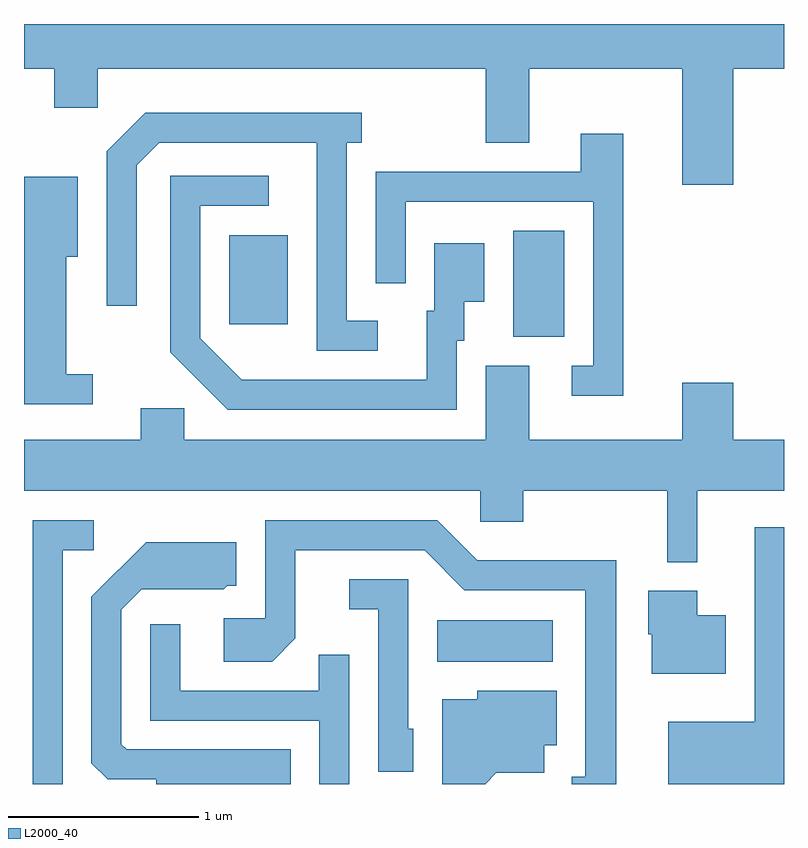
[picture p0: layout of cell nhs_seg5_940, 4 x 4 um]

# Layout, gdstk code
import gdstk
lib = gdstk.Library(unit=1e-6, precision=1e-09)
def R(c, l, rs):  # rectangles x0, y0, x1, y1
    for r in rs: c.add(gdstk.rectangle(r[:2], r[2:], *l))
def P(c, l, *ps):  # polygons
    for p in ps: c.add(gdstk.Polygon(p, *l))
L2000_40 = (2000, 40)

nhs_seg5_940 = lib.new_cell('nhs_seg5_940')
R(nhs_seg5_940, L2000_40, [(213.786,1524.716,214.394,1524.934), (214.186,1526.426,214.454,1526.984), (212.691,1526.491,212.999,1526.959)])
P(nhs_seg5_940, L2000_40, [(215.344,1527.836),(215.611,1527.836),(215.611,1528.072),(211.611,1528.072),(211.611,1527.836),(211.771,1527.836),(211.771,1527.631),(211.999,1527.631),(211.999,1527.836),(214.041,1527.836),(214.041,1527.446),(214.269,1527.446),(214.269,1527.836),(215.076,1527.836),(215.076,1527.226),(215.344,1527.226)],
  [(213.473,1526.509),(213.309,1526.509),(213.309,1527.446),(213.388,1527.446),(213.388,1527.604),(212.249,1527.604),(212.046,1527.402),(212.046,1526.588),(212.204,1526.588),(212.204,1527.329),(212.322,1527.446),(213.151,1527.446),(213.151,1526.351),(213.473,1526.351)],
  [(214.764,1527.494),(214.541,1527.494),(214.541,1527.294),(213.461,1527.294),(213.461,1526.708),(213.619,1526.708),(213.619,1527.136),(214.606,1527.136),(214.606,1526.274),(214.493,1526.274),(214.493,1526.116),(214.764,1526.116)],
  [(213.889,1526.406),(213.929,1526.406),(213.929,1526.611),(214.034,1526.611),(214.034,1526.919),(213.771,1526.919),(213.771,1526.564),(213.731,1526.564),(213.731,1526.199),(212.757,1526.199),(212.539,1526.417),(212.539,1527.116),(212.898,1527.116),(212.898,1527.274),(212.381,1527.274),(212.381,1526.344),(212.684,1526.041),(213.889,1526.041)],
  [(211.973,1526.229),(211.834,1526.229),(211.834,1526.846),(211.894,1526.846),(211.894,1527.269),(211.611,1527.269),(211.611,1526.071),(211.973,1526.071)],
  [(215.154,1525.616),(215.611,1525.616),(215.611,1525.884),(215.344,1525.884),(215.344,1526.184),(215.076,1526.184),(215.076,1525.884),(214.269,1525.884),(214.269,1526.274),(214.041,1526.274),(214.041,1525.884),(212.454,1525.884),(212.454,1526.049),(212.226,1526.049),(212.226,1525.884),(211.611,1525.884),(211.611,1525.616),(214.011,1525.616),(214.011,1525.451),(214.239,1525.451),(214.239,1525.616),(214.996,1525.616),(214.996,1525.238),(215.154,1525.238)],
  [(214.729,1525.249),(213.997,1525.249),(213.787,1525.459),(212.881,1525.459),(212.881,1524.944),(212.661,1524.944),(212.661,1524.716),(212.917,1524.716),(213.039,1524.839),(213.039,1525.301),(213.719,1525.301),(213.929,1525.091),(214.566,1525.091),(214.566,1524.109),(214.493,1524.109),(214.493,1524.072),(214.729,1524.072)],
  [(211.814,1525.301),(211.978,1525.301),(211.978,1525.459),(211.656,1525.459),(211.656,1524.072),(211.814,1524.072)],
  [(215.611,1525.423),(215.456,1525.423),(215.456,1524.399),(215.001,1524.399),(215.001,1524.072),(215.611,1524.072)],
  [(213.014,1524.254),(212.152,1524.254),(212.124,1524.282),(212.124,1524.989),(212.232,1525.096),(212.662,1525.096),(212.682,1525.116),(212.729,1525.116),(212.729,1525.344),(212.254,1525.344),(211.966,1525.057),(211.966,1524.182),(212.052,1524.096),(212.306,1524.096),(212.306,1524.072),(213.014,1524.072)],
  [(213.659,1524.364),(213.634,1524.364),(213.634,1525.149),(213.323,1525.149),(213.323,1524.991),(213.476,1524.991),(213.476,1524.136),(213.659,1524.136)],
  [(215.304,1524.959),(215.154,1524.959),(215.154,1525.089),(214.896,1525.089),(214.896,1524.861),(214.916,1524.861),(214.916,1524.651),(215.304,1524.651)],
  [(213.324,1524.753),(213.161,1524.753),(213.161,1524.564),(212.434,1524.564),(212.434,1524.913),(212.276,1524.913),(212.276,1524.406),(213.166,1524.406),(213.166,1524.072),(213.324,1524.072)],
  [(214.097,1524.131),(214.349,1524.131),(214.349,1524.276),(214.414,1524.276),(214.414,1524.564),(213.996,1524.564),(213.996,1524.519),(213.811,1524.519),(213.811,1524.072),(214.038,1524.072)])

lib.write_gds('nhs_seg5_940.gds')
